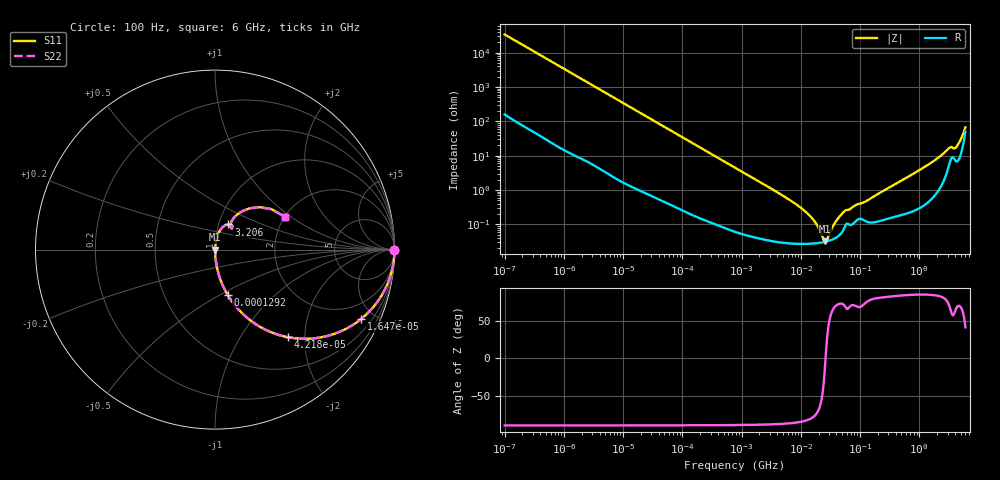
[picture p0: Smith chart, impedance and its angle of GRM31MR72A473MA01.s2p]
!Murata Part Number: GRM31MR72A473MA01
!These Parameters are Measured in Series Mode Connection
!Data Generated on Mar 30, 2021
!  o--ll--o
!Port1  Port2
!  o------o
!Operation Temp=25[degC], DC Bias Voltage=0[V]
!Freq. Start=100[Hz] Stop=6[GHz] 401[Steps]
# Hz S RI R 50
!Freq.(Hz) S11(Real) S11(Imag) S21(Real) S21(Imag) S12(Real) S12(Imag) S22(Real) S22(Imag)
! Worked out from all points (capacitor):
!   401 points, 100 Hz to 6 GHz, reference 50 ohm
!   read as one part in series: C = 46.5 nF near 109 Hz
!   lowest |Z| = 32 mohm at 25.46 MHz (marker M1)
!   series resonance near 26.15 MHz, so ESL is about 800 pH
!   S11 on the Smith chart (normalised r, x): 100 Hz: open; 16.47 kHz: 1.02, -4.21; 42.18 kHz: 1.01, -1.65; 129.2 kHz: 1.00, -0.54; 3.206 GHz: 1.11, +0.32; 6 GHz: 2.01, +0.90
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100  1 -0.00292  2.22e-05 0.00292  2.22e-05 0.00292  1 -0.00292
2008  0.9963 -0.058  0.00365 0.058  0.00365 0.058  0.9963 -0.058
7358  0.9559 -0.2029  0.0441 0.2029  0.0441 0.2029  0.9559 -0.2029
16473  0.8148 -0.3859  0.1852 0.3859  0.1852 0.3859  0.8148 -0.3859
40335  0.4272 -0.4916  0.5728 0.4916  0.5728 0.4916  0.4272 -0.4916
42182  0.4057 -0.4879  0.5943 0.4879  0.5943 0.4879  0.4057 -0.4879
72189  0.191 -0.3896  0.809 0.3896  0.809 0.3896  0.191 -0.3896
129199  0.0699 -0.2512  0.9301 0.2512  0.9301 0.2512  0.0699 -0.2512
774597  0.00267 -0.0454  0.9973 0.0454  0.9973 0.0454  0.00267 -0.0454
6644369  0.000304 -0.00502  0.9997 0.00502  0.9997 0.00502  0.000304 -0.00502
1.555665e7  0.00028 -0.00149  0.9997 0.00149  0.9997 0.00149  0.00028 -0.00149
1.86079e7  0.000286 -0.000951  0.9997 0.000951  0.9997 0.000951  0.000286 -0.000951
2.545746e7  0.000311 -7.37e-05  0.9997 7.37e-05  0.9997 7.37e-05  0.000311 -7.37e-05
2.784235e7  0.000323 0.000174  0.9997 -0.000174  0.9997 -0.000174  0.000323 0.000174
3.983537e7  0.000419 0.00122  0.9996 -0.00122  0.9996 -0.00122  0.000419 0.00122
5.449875e7  0.000803 0.00231  0.9992 -0.00231  0.9992 -0.00231  0.000803 0.00231
3.124326e8  0.00165 0.0119  0.9983 -0.0119  0.9983 -0.0119  0.00165 0.0119
1.369159e9  0.00703 0.0527  0.993 -0.0527  0.993 -0.0527  0.00703 0.0527
3.205649e9  0.0743 0.1403  0.9257 -0.1403  0.9257 -0.1403  0.0743 0.1403
4.193612e9  0.086 0.1398  0.914 -0.1398  0.914 -0.1398  0.086 0.1398
5.016141e9  0.1535 0.2149  0.8465 -0.2149  0.8465 -0.2149  0.1535 0.2149
6e9  0.39 0.182  0.61 -0.182  0.61 -0.182  0.39 0.182
